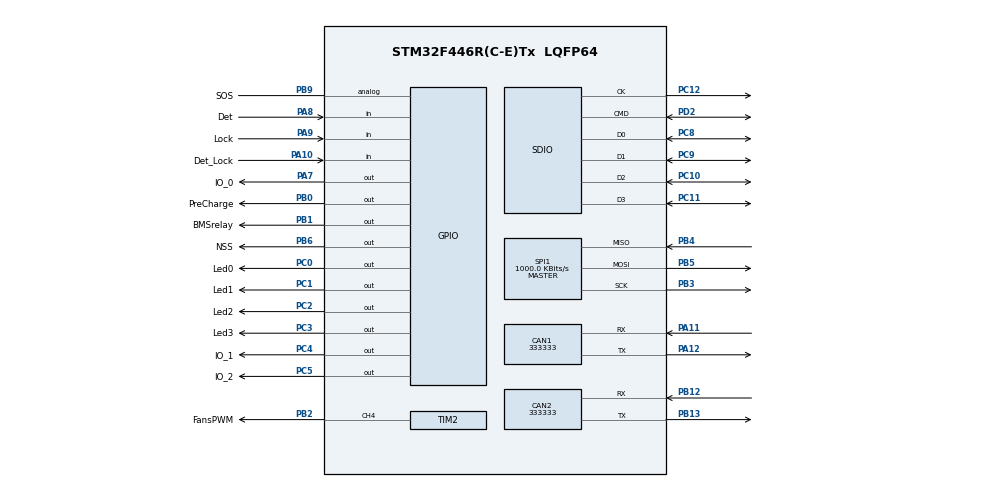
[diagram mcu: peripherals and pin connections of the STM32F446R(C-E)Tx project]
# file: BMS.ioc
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CAN1.BS1=CAN_BS1_1TQ
CAN1.BS2=CAN_BS2_1TQ
CAN1.CalculateBaudRate=333333
CAN1.CalculateTimeBit=3000.00
CAN1.CalculateTimeQuantum=1000.0
CAN2.BS1=CAN_BS1_1TQ
CAN2.BS2=CAN_BS2_1TQ
CAN2.CalculateBaudRate=333333
CAN2.CalculateTimeBit=3000.00
CAN2.CalculateTimeQuantum=1000.0
FATFS.BSP.number=1
FATFS0.BSP.STBoard=false
FATFS0.BSP.api=Unknown
FATFS0.BSP.i2caddr=0
FATFS0.BSP.instance=PA8
FATFS0.BSP.ip=GPIO
FATFS0.BSP.mode=Input
FATFS0.BSP.name=Detect_SDIO
FATFS0.BSP.solution=PA8
Mcu.Family=STM32F4
Mcu.Name=STM32F446R(C-E)Tx
Mcu.Package=LQFP64
NVIC.CAN1_RX0_IRQn=true\:0\:0\:false\:false\:true\:true\:true
NVIC.CAN2_RX1_IRQn=true\:0\:0\:false\:false\:true\:true\:true
NVIC.PriorityGroup=NVIC_PRIORITYGROUP_4
PA10.GPIO_Label=Det_Lock
PA10.Signal=GPIO_Input
PA11.Mode=CAN_Activate
PA11.Signal=CAN1_RX
PA12.Mode=CAN_Activate
PA12.Signal=CAN1_TX
PA13.GPIO_Label=SWDIO
PA13.Mode=Serial_Wire
PA13.Signal=SYS_JTMS-SWDIO
PA14.GPIO_Label=SWCLK
PA14.Mode=Serial_Wire
PA14.Signal=SYS_JTCK-SWCLK
PA7.GPIO_Label=IO_0
PA7.Signal=GPIO_Output
PA8.GPIO_Label=Det
PA8.Signal=GPIO_Input
PA9.GPIO_Label=Lock
PA9.Signal=GPIO_Input
PB0.GPIO_Label=PreCharge
PB0.Signal=GPIO_Output
PB1.GPIO_Label=BMSrelay
PB1.Signal=GPIO_Output
PB12.Mode=CAN_Activate
PB12.Signal=CAN2_RX
PB13.Mode=CAN_Activate
PB13.Signal=CAN2_TX
PB2.GPIO_Label=FansPWM
PB2.Signal=S_TIM2_CH4
PB3.Mode=Full_Duplex_Master
PB3.Signal=SPI1_SCK
PB4.Mode=Full_Duplex_Master
PB4.Signal=SPI1_MISO
PB5.Mode=Full_Duplex_Master
PB5.Signal=SPI1_MOSI
PB6.GPIO_Label=NSS
PB6.Signal=GPIO_Output
PB9.GPIO_Label=SOS
PB9.Signal=GPIO_Analog
PC0.GPIO_Label=Led0
PC0.Signal=GPIO_Output
PC1.GPIO_Label=Led1
PC1.Signal=GPIO_Output
PC10.Mode=SD_4_bits_Wide_bus
PC10.Signal=SDIO_D2
PC11.Mode=SD_4_bits_Wide_bus
PC11.Signal=SDIO_D3
PC12.Mode=SD_4_bits_Wide_bus
PC12.Signal=SDIO_CK
PC14-OSC32_IN.Mode=LSE-External-Clock-Source
PC14-OSC32_IN.Signal=RCC_OSC32_IN
PC15-OSC32_OUT.Mode=LSE-External-Clock-Source
PC15-OSC32_OUT.Signal=RCC_OSC32_OUT
PC2.GPIO_Label=Led2
PC2.Signal=GPIO_Output
PC3.GPIO_Label=Led3
PC3.Signal=GPIO_Output
PC4.GPIO_Label=IO_1
PC4.Signal=GPIO_Output
PC5.GPIO_Label=IO_2
PC5.Signal=GPIO_Output
PC8.Mode=SD_4_bits_Wide_bus
PC8.Signal=SDIO_D0
PC9.Mode=SD_4_bits_Wide_bus
PC9.Signal=SDIO_D1
PD2.Mode=SD_4_bits_Wide_bus
PD2.Signal=SDIO_CMD
PH0-OSC_IN.Mode=HSE-External-Clock-Source
PH0-OSC_IN.Signal=RCC_OSC_IN
PH1-OSC_OUT.Mode=HSE-External-Clock-Source
PH1-OSC_OUT.Signal=RCC_OSC_OUT
ProjectManager.HeapSize=0x200
ProjectManager.StackSize=0x400
ProjectManager.TargetToolchain=STM32CubeIDE
RCC.AHBFreq_Value=16000000
RCC.APB1Freq_Value=16000000
RCC.APB1TimFreq_Value=16000000
RCC.APB2Freq_Value=16000000
RCC.APB2TimFreq_Value=16000000
RCC.CortexFreq_Value=16000000
RCC.HCLKFreq_Value=16000000
RCC.HSE_VALUE=25000000
RCC.PLLM=8
RCC.PLLN=50
RCC.PLLQ=3
RCC.SYSCLKFreq_VALUE=16000000
RCC.USBFreq_Value=33333333.333333332
RCC.VCOOutputFreq_Value=100000000
SH.S_TIM2_CH4.0=TIM2_CH4,PWM Generation4 CH4
SPI1.BaudRatePrescaler=SPI_BAUDRATEPRESCALER_16
SPI1.CLKPhase=SPI_PHASE_2EDGE
SPI1.CalculateBaudRate=1000.0 KBits/s
SPI1.Direction=SPI_DIRECTION_2LINES
SPI1.FirstBit=SPI_FIRSTBIT_MSB
SPI1.Mode=SPI_MODE_MASTER
SPI1.VirtualType=VM_MASTER
TIM2.Channel-PWM\ Generation4\ CH4=TIM_CHANNEL_4
TIM2.Period=19999
TIM2.Prescaler=800
VP_FATFS_VS_SDIO.Mode=SDIO
VP_TIM2_VS_ClockSourceINT.Mode=Internal
board=custom

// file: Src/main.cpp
#include <main.h>
#include <cmath>
#include "fatfs.h"
#include "IVT.h"
#include "NLG5.h"
#include "LTC6811.h"
#include "PWM_Fan.h"
#include "Status.h"
#include "DWTWrapper.h"

struct RTClock {
    volatile uint16_t year{ 0 };
    volatile uint8_t month{ 0 };
    volatile uint8_t days{ 0 };
    volatile uint8_t hours{ 0 };
    volatile uint8_t minutes{ 0 };
    volatile uint8_t seconds{ 0 };

    void tick() noexcept {
        if (++seconds >= 60) {
            seconds = 0;
            if (++minutes >= 60) {
                minutes = 0;
                if (++hours >= 24) {
                    hours = 0;
                }
            }
        }
    }
} rtc;

struct VoltageStatus {
    uint32_t sum{ 0 };
    uint16_t min{ std::numeric_limits<uint16_t>::max() };
    size_t min_id{ 0 };
    uint16_t max{ std::numeric_limits<uint16_t>::min() };
    size_t max_id{ 0 };
};

struct TempStatus {
    int16_t min{ std::numeric_limits<int16_t>::max() };
    size_t min_id{ 0 };
    int16_t max{ std::numeric_limits<int16_t>::min() };
    size_t max_id{ 0 };
};

static constexpr auto kFile = "/hpf20/data.txt";

CAN_HandleTypeDef hcan1; // CAN1
CAN_HandleTypeDef hcan2; // CAN0. Confusing, I know! Blame the electrical boys.
SD_HandleTypeDef hsd;
SPI_HandleTypeDef hspi1;
TIM_HandleTypeDef htim2;
CAN_TxHeaderTypeDef TxHeader{ 0, 0, CAN_ID_STD, CAN_RTR_DATA, 8, DISABLE };
NLG5* nlg5{ nullptr };
LTC6811* ltc6811;
PWM_Fan* pwm_fan{ nullptr };
IVT ivt;
uint32_t mailbox{ 0 };
Status status{ Core | Charging };
DischargeMode volatile discharge_mode{ GTMinPlusDelta };

static void SystemClock_Config();
static void MX_GPIO_Init();
static void MX_CAN1_Init();
static void MX_CAN2_Init();
static void MX_SDIO_SD_Init();
static void MX_SPI1_Init();
static void MX_TIM2_Init();
void balance_cells(LTC6811::CellData const &, VoltageStatus const &, DischargeMode) noexcept;
[[nodiscard]] std::optional<VoltageStatus> read_cell_data(LTC6811::CellData&) noexcept;
[[nodiscard]] std::optional<TempStatus> read_temp_data(LTC6811::TempData&) noexcept;
HAL_StatusTypeDef CANTxData(uint16_t const, uint16_t const, int16_t const);
HAL_StatusTypeDef CANTxVoltageLimpTotal(uint32_t const);
HAL_StatusTypeDef CANTxDCCfg();
HAL_StatusTypeDef CANTxVoltage(LTC6811::CellData const &);
HAL_StatusTypeDef CANTxTemperature(LTC6811::TempData const &);
HAL_StatusTypeDef CANTxStatus();
HAL_StatusTypeDef CANTxPECError();
HAL_StatusTypeDef CANTxVolumeSize(uint32_t const);
inline auto get_uptime() { return uwTick / 10; }

extern "C" { void HAL_IncTick() {
    uwTick += uwTickFreq;
    if (nlg5 != nullptr && status.get_op_mode() & Charging)
        nlg5->tick();
}}

int main() {
    HAL_Init();
    SystemClock_Config();
    MX_GPIO_Init();
    HAL_GPIO_WritePin(NSS_GPIO_Port, NSS_Pin, GPIO_PIN_SET);
    //MX_FATFS_Init();
    MX_CAN1_Init();
    MX_CAN2_Init();
    //MX_SDIO_SD_Init();
    MX_SPI1_Init();
    MX_TIM2_Init();
    HAL_TIM_PWM_Start(&htim2, TIM_CHANNEL_4);
    HAL_CAN_ActivateNotification(&hcan1, CAN_IT_TX_MAILBOX_EMPTY | CAN_IT_RX_FIFO0_MSG_PENDING | CAN_IT_RX_FIFO1_MSG_PENDING);
    nlg5 = new NLG5(hcan1, TxHeader);
    pwm_fan = new PWM_Fan;

#if BYPASS_INITIAL_CHECK
    status.set_AIR_state(GPIO_PIN_SET);
    //HAL_Delay(5000);
    status.set_precharge_state(GPIO_PIN_SET);
#endif

    ltc6811 = new LTC6811{
        [](bool level) {
            HAL_GPIO_WritePin(NSS_GPIO_Port, NSS_Pin, static_cast<GPIO_PinState>(level));
        },
        [](uint8_t const * tx_buffer, std::size_t size) {
            HAL_SPI_Transmit(&hspi1, tx_buffer, size, HAL_MAX_DELAY);
        },
        [](uint8_t* rx_buffer, std::size_t size) {
            HAL_SPI_Receive(&hspi1, rx_buffer, size, HAL_MAX_DELAY);
        }
    };

    LTC6811::RegisterGroup<uint8_t> default_config{ 0 };
    for (auto& IC : default_config)
        IC.data[0] = LTC6811::CFGR0;
    ltc6811->WRCFG(LTC6811::A, default_config);
    ltc6811->RDCFG(LTC6811::A, default_config);

    LTC6811::CellData cell_data{ 0 };
    LTC6811::TempData temp_data{ 0 };

    while (true) {
        HAL_GPIO_TogglePin(Led0_GPIO_Port, Led0_Pin);
        auto const op_mode = status.get_op_mode();

        /*  Core routine for monitoring voltage and temperature of the cells.  */
        if (op_mode & Core) {
            auto const voltage_status = read_cell_data(cell_data);
            auto const temp_status = read_temp_data(temp_data);
            // The boolean logic here is confusing, I know, but it's correct. The error handling needs a full rewrite.
            if (!status.is_error(PECError, !voltage_status.has_value()) &&
                    !status.is_error(PECError, !temp_status.has_value())) { // If no PEC errors and we have both statuses
                status.is_error(Limping, voltage_status->min < kLimpMinVoltage);
                nlg5->setChargeCurrent(voltage_status->max);

                if (op_mode & Balance)
                    balance_cells(cell_data, *voltage_status, discharge_mode);

                if (pwm_fan->getMode() == PWM_Fan::Automatic)
                    pwm_fan->calcDutyCycle(temp_status->max);

#if CHECK_IVT
                switch (ivt.compare_precharge(voltage_status->sum)) {
                case ivt.Charged:
                status.set_precharge_state(GPIO_PIN_SET);
                break;

                case ivt.NotCharged:
                status.set_precharge_state(GPIO_PIN_RESET);
                break;

                case ivt.Hysteresis:
                case ivt.Lost:
                default:
                    // Do nothing.
                    break;
                }
#endif

                if ( // NOTE: Bitwise & will not short circuit like Logical &&. We want all status.is_error() calls to happen, so do not replace & with &&.
#if CHECK_IVT
#if IVT_TIMEOUT
                        !status.is_error(IVTLost, ivt.is_lost()) &
#endif
#if TEST_OVERPOWER
                        !status.is_error(OverPower, voltage_status->sum * ivt.get_current() > kMaxPower) &
#endif
#if TEST_OVERCURRENT
                        !status.is_error(OverCurrent, ivt.get_current() > kMaxCurrent) &
#endif
#if TEST_ACCU_UNDERVOLTAGE
                        !status.is_error(AccuUnderVoltage, ivt.get_voltage2() < kAccuMinVoltage) &
#endif
#endif
#if TEST_UNDERVOLTAGE
                        !status.is_error(UnderVoltage, voltage_status->min < kMinVoltage) &
#endif
#if TEST_OVERVOLTAGE
                        !status.is_error(OverVoltage, voltage_status->max > kMaxVoltage) &
#endif
#if TEST_UNDERTEMPERATURE
                        !status.is_error(UnderTemp, temp_status->min < kMinTemp) &
#endif
#if TEST_OVERTEMPERATURE
                        !status.is_error(OverTemp, temp_status->max > kMaxTemp) &
#endif
#if TEST_OVERTEMPERATURE_CHARGING
                        !status.is_error(OverTempCharging, (op_mode & Charging) && (temp_status->max > kMaxChargeTemp)) &
#endif
                        true
                ) {
                    // If no errors occurred, including PEC errors, since that's the condition of entering this scope.
                    status.set_AIR_state(GPIO_PIN_SET);
#if !CHECK_IVT
                    status.set_precharge_state(GPIO_PIN_SET);
#endif
                }
#if CAN_ENABLED
                CANTxData(voltage_status->min, voltage_status->max, temp_status->max);
                CANTxVoltageLimpTotal(voltage_status->sum);
#endif
            }
#if CAN_ENABLED
            CANTxStatus();
            CANTxPECError();
        }

#if CAN_DEBUG
        /*  Functions for debugging and untested code.  */
        if (op_mode & Debug) {
            CANTxVoltage(cell_data);
            CANTxTemperature(temp_data);
            CANTxDCCfg();
        }
#endif
#endif
        /*  Log data to SD card.  */
        if (op_mode & Logging) {
            if (retSD == FR_OK) {
                if (f_size(&SDFile) < 524288000 && f_open(&SDFile, kFile, FA_WRITE | FA_OPEN_APPEND) == FR_OK) {
                    HAL_GPIO_TogglePin(Led2_GPIO_Port, Led2_Pin);

                    /* NOTE: f_printf might be pretty slow compared to f_write. */
                    f_printf(&SDFile, "%u,", get_uptime());
                    /* ISO 8601 Notation (yyyy-mm-ddThh:mm:ss) */
                    // TODO Not implemented.
                    f_printf(&SDFile, "%04u-%02u-%02uT%02u:%02u:%02u\n", rtc.year, rtc.month, rtc.days, rtc.hours, rtc.minutes, rtc.seconds);

                    UINT number_written{ 0 };
                    uint16_t buffer[4 * LTC6811::kDaisyChainLength * 3]{ 0 };
                    size_t position{ 0 };

                    for (auto const& register_group : cell_data) // 4 voltage register groups
                        for (auto const& IC : register_group) // N ICs in daisy chain, determined by kDaisyChainLength
                            for (auto const voltage : IC.data) // 3 voltages in IC.data
                                buffer[position++] = voltage;
                    f_write(&SDFile, buffer, sizeof(buffer), &number_written);

                    position = 0;

                    for (auto const& register_group : temp_data) // 2 temperature register groups
                        for (auto const& IC : register_group) // N ICs in daisy chain, determined by kDaisyChainLength
                            for (auto const temperature : IC.data) // 3 temperatures in IC.data
                                buffer[position++] = temperature;
                    f_write(&SDFile, buffer, sizeof(buffer) / 2, &number_written);

                    f_sync(&SDFile);
                    f_close(&SDFile);
                }
            }
        }
    }
}

static void SystemClock_Config() {
    RCC_OscInitTypeDef RCC_OscInitStruct = {0};
    RCC_ClkInitTypeDef RCC_ClkInitStruct = {0};
    RCC_PeriphCLKInitTypeDef PeriphClkInitStruct = {0};

    // Configure the main internal regulator output voltage
    __HAL_RCC_PWR_CLK_ENABLE();
    __HAL_PWR_VOLTAGESCALING_CONFIG(PWR_REGULATOR_VOLTAGE_SCALE3);

    // Initializes the CPU, AHB and APB busses clocks
    RCC_OscInitStruct.OscillatorType = RCC_OSCILLATORTYPE_HSI;
    RCC_OscInitStruct.HSIState = RCC_HSI_ON;
    RCC_OscInitStruct.HSICalibrationValue = RCC_HSICALIBRATION_DEFAULT;
    RCC_OscInitStruct.PLL.PLLState = RCC_PLL_ON;
    RCC_OscInitStruct.PLL.PLLSource = RCC_PLLSOURCE_HSI;
    RCC_OscInitStruct.PLL.PLLM = 8;
    RCC_OscInitStruct.PLL.PLLN = 50;
    RCC_OscInitStruct.PLL.PLLP = RCC_PLLP_DIV2;
    RCC_OscInitStruct.PLL.PLLQ = 3;
    RCC_OscInitStruct.PLL.PLLR = 2;
    if (HAL_RCC_OscConfig(&RCC_OscInitStruct) != HAL_OK)
        Error_Handler();

    // Initializes the CPU, AHB and APB busses clocks
    RCC_ClkInitStruct.ClockType = RCC_CLOCKTYPE_HCLK|RCC_CLOCKTYPE_SYSCLK|RCC_CLOCKTYPE_PCLK1|RCC_CLOCKTYPE_PCLK2;
    RCC_ClkInitStruct.SYSCLKSource = RCC_SYSCLKSOURCE_HSI;
    RCC_ClkInitStruct.AHBCLKDivider = RCC_SYSCLK_DIV1;
    RCC_ClkInitStruct.APB1CLKDivider = RCC_HCLK_DIV1;
    RCC_ClkInitStruct.APB2CLKDivider = RCC_HCLK_DIV1;
    if (HAL_RCC_ClockConfig(&RCC_ClkInitStruct, FLASH_LATENCY_0) != HAL_OK)
        Error_Handler();

    PeriphClkInitStruct.PeriphClockSelection = RCC_PERIPHCLK_SDIO|RCC_PERIPHCLK_CLK48;
    PeriphClkInitStruct.Clk48ClockSelection = RCC_CLK48CLKSOURCE_PLLQ;
    PeriphClkInitStruct.SdioClockSelection = RCC_SDIOCLKSOURCE_CLK48;
    if (HAL_RCCEx_PeriphCLKConfig(&PeriphClkInitStruct) != HAL_OK)
        Error_Handler();
}

static void MX_CAN1_Init() {
    hcan1.Instance = CAN1;
    hcan1.Init.Prescaler = 16;
    hcan1.Init.Mode = CAN_MODE_NORMAL;
    hcan1.Init.SyncJumpWidth = CAN_SJW_1TQ;
    hcan1.Init.TimeSeg1 = CAN_BS1_1TQ;
    hcan1.Init.TimeSeg2 = CAN_BS2_1TQ;
    hcan1.Init.TimeTriggeredMode = DISABLE;
    hcan1.Init.AutoBusOff = DISABLE;
    hcan1.Init.AutoWakeUp = DISABLE;
    hcan1.Init.AutoRetransmission = DISABLE;
    hcan1.Init.ReceiveFifoLocked = DISABLE;
    hcan1.Init.TransmitFifoPriority = DISABLE;
    if (HAL_CAN_Init(&hcan1) != HAL_OK)
        Error_Handler();
    /* USER CODE BEGIN CAN1_Init 2 */
    CAN_FilterTypeDef sFilterConfig = {
            .FilterIdHigh = Setting << 5,
            .FilterIdLow = NLGAStat << 5,
            .FilterMaskIdHigh = NLGBStat << 5,
            .FilterMaskIdLow = LoggerReq << 5,
            .FilterFIFOAssignment = CAN_RX_FIFO1,
            .FilterBank = 0,
            .FilterMode = CAN_FILTERMODE_IDLIST,
            .FilterScale = CAN_FILTERSCALE_16BIT,
            .FilterActivation = ENABLE,
            .SlaveStartFilterBank = 14
    };
    HAL_CAN_ConfigFilter(&hcan1, &sFilterConfig);
}

static void MX_CAN2_Init() {
    hcan2.Instance = CAN2;
    hcan2.Init.Prescaler = 16;
    hcan2.Init.Mode = CAN_MODE_NORMAL;
    hcan2.Init.SyncJumpWidth = CAN_SJW_1TQ;
    hcan2.Init.TimeSeg1 = CAN_BS1_1TQ;
    hcan2.Init.TimeSeg2 = CAN_BS2_1TQ;
    hcan2.Init.TimeTriggeredMode = DISABLE;
    hcan2.Init.AutoBusOff = DISABLE;
    hcan2.Init.AutoWakeUp = DISABLE;
    hcan2.Init.AutoRetransmission = DISABLE;
    hcan2.Init.ReceiveFifoLocked = DISABLE;
    hcan2.Init.TransmitFifoPriority = DISABLE;
    if (HAL_CAN_Init(&hcan2) != HAL_OK)
        Error_Handler();
    CAN_FilterTypeDef sFilterConfig = {
            .FilterIdHigh = IVT_I << 5,
            .FilterIdLow = IVT_U1 << 5,
            .FilterMaskIdHigh = IVT_U2 << 5,
            .FilterMaskIdLow = IVT_U3 << 5,
            .FilterFIFOAssignment = CAN_RX_FIFO0,
            .FilterBank = 14,
            .FilterMode = CAN_FILTERMODE_IDLIST,
            .FilterScale = CAN_FILTERSCALE_16BIT,
            .FilterActivation = ENABLE,
            .SlaveStartFilterBank = 14,
    };
    HAL_CAN_ConfigFilter(&hcan2, &sFilterConfig);
}

static void MX_SDIO_SD_Init() {
    hsd.Instance = SDIO;
    hsd.Init.ClockEdge = SDIO_CLOCK_EDGE_RISING;
    hsd.Init.ClockBypass = SDIO_CLOCK_BYPASS_DISABLE;
    hsd.Init.ClockPowerSave = SDIO_CLOCK_POWER_SAVE_DISABLE;
    hsd.Init.BusWide = SDIO_BUS_WIDE_1B;
    hsd.Init.HardwareFlowControl = SDIO_HARDWARE_FLOW_CONTROL_DISABLE;
    hsd.Init.ClockDiv = 0;
}

static void MX_SPI1_Init() {
    hspi1.Instance = SPI1;
    hspi1.Init.Mode = SPI_MODE_MASTER;
    hspi1.Init.Direction = SPI_DIRECTION_2LINES;
    hspi1.Init.DataSize = SPI_DATASIZE_8BIT;
    hspi1.Init.CLKPolarity = SPI_POLARITY_LOW;
    hspi1.Init.CLKPhase = SPI_PHASE_1EDGE;
    hspi1.Init.NSS = SPI_NSS_SOFT;
    hspi1.Init.BaudRatePrescaler = SPI_BAUDRATEPRESCALER_64;
    hspi1.Init.FirstBit = SPI_FIRSTBIT_MSB;
    hspi1.Init.TIMode = SPI_TIMODE_DISABLE;
    hspi1.Init.CRCCalculation = SPI_CRCCALCULATION_DISABLE;
    hspi1.Init.CRCPolynomial = 1;
    if (HAL_SPI_Init(&hspi1) != HAL_OK)
        Error_Handler();
}

static void MX_TIM2_Init() {
    htim2.Instance = TIM2;
    htim2.Init.Prescaler = 800; // Prescaler is 800 as 16MHz / 800 == 20kHz, I guess?
    htim2.Init.CounterMode = TIM_COUNTERMODE_UP;
    htim2.Init.Period = 19999;
    htim2.Init.ClockDivision = TIM_CLOCKDIVISION_DIV1;
    htim2.Init.AutoReloadPreload = TIM_AUTORELOAD_PRELOAD_DISABLE;
    if (HAL_TIM_Base_Init(&htim2) != HAL_OK)
        Error_Handler();

    TIM_ClockConfigTypeDef sClockSourceConfig = {0};
    sClockSourceConfig.ClockSource = TIM_CLOCKSOURCE_INTERNAL;
    if (HAL_TIM_ConfigClockSource(&htim2, &sClockSourceConfig) != HAL_OK)
        Error_Handler();
    if (HAL_TIM_PWM_Init(&htim2) != HAL_OK)
        Error_Handler();

    TIM_MasterConfigTypeDef sMasterConfig = {0};
    sMasterConfig.MasterOutputTrigger = TIM_TRGO_RESET;
    sMasterConfig.MasterSlaveMode = TIM_MASTERSLAVEMODE_DISABLE;
    if (HAL_TIMEx_MasterConfigSynchronization(&htim2, &sMasterConfig) != HAL_OK)
        Error_Handler();

    TIM_OC_InitTypeDef sConfigOC = {0};
    sConfigOC.OCMode = TIM_OCMODE_PWM1;
    sConfigOC.Pulse = 0;
    sConfigOC.OCPolarity = TIM_OCPOLARITY_HIGH;
    sConfigOC.OCFastMode = TIM_OCFAST_DISABLE;
    if (HAL_TIM_PWM_ConfigChannel(&htim2, &sConfigOC, TIM_CHANNEL_4) != HAL_OK)
        Error_Handler();
    HAL_TIM_MspPostInit(&htim2);
}

static void MX_GPIO_Init() {
    GPIO_InitTypeDef GPIO_InitStruct = {0};

    /* GPIO Ports Clock Enable */
    __HAL_RCC_GPIOC_CLK_ENABLE();
    __HAL_RCC_GPIOH_CLK_ENABLE();
    __HAL_RCC_GPIOA_CLK_ENABLE();
    __HAL_RCC_GPIOB_CLK_ENABLE();

    /*Configure GPIO pin Output Levels */
    HAL_GPIO_WritePin(GPIOC, Led0_Pin|Led1_Pin|Led2_Pin|Led3_Pin|IO_1_Pin|IO_2_Pin, GPIO_PIN_RESET);
    HAL_GPIO_WritePin(IO_0_GPIO_Port, IO_0_Pin, GPIO_PIN_RESET);
    HAL_GPIO_WritePin(GPIOB, PreCharge_Pin|BMSrelay_Pin, GPIO_PIN_RESET);
    HAL_GPIO_WritePin(NSS_GPIO_Port, NSS_Pin, GPIO_PIN_SET);

    GPIO_InitStruct.Pin = Led0_Pin | Led1_Pin | Led2_Pin | Led3_Pin | IO_1_Pin | IO_2_Pin;
    GPIO_InitStruct.Mode = GPIO_MODE_OUTPUT_PP;
    GPIO_InitStruct.Pull = GPIO_NOPULL;
    GPIO_InitStruct.Speed = GPIO_SPEED_FREQ_LOW;
    HAL_GPIO_Init(GPIOC, &GPIO_InitStruct);

    GPIO_InitStruct.Pin = IO_0_Pin;
    HAL_GPIO_Init(IO_0_GPIO_Port, &GPIO_InitStruct);

    GPIO_InitStruct.Pin = PreCharge_Pin | BMSrelay_Pin | NSS_Pin;
    HAL_GPIO_Init(GPIOB, &GPIO_InitStruct);

    GPIO_InitStruct.Pin = Det_Pin |Lock_Pin | Det_Lock_Pin;
    GPIO_InitStruct.Mode = GPIO_MODE_INPUT;
    HAL_GPIO_Init(GPIOA, &GPIO_InitStruct);

    GPIO_InitStruct.Pin = SOS_Pin;
    GPIO_InitStruct.Mode = GPIO_MODE_ANALOG;
    HAL_GPIO_Init(SOS_GPIO_Port, &GPIO_InitStruct);
}

void balance_cells(LTC6811::CellData const & cell_data, VoltageStatus const & voltage_status, DischargeMode discharge_mode) noexcept {
    static constexpr uint8_t kDelta{ 100 };
    uint16_t DCC{ 0 };
    uint8_t current_cell{ 0 }, current_ic{ LTC6811::kDaisyChainLength - 1 };
    LTC6811::RegisterGroup<uint8_t> config_register_group{ 0 };

    switch (discharge_mode) {
    case GTMinPlusDelta:
        for (auto& IC : config_register_group) { // 12 register groups
            DCC = 0;
            current_cell = 0;
            for (auto const& register_group : cell_data) { // 4 voltage register groups
                for (auto const voltage : register_group[current_ic].data) { // 3 voltages per IC
                    if (voltage > voltage_status.min + kDelta)
                        DCC |= 1 << current_cell;
                    ++current_cell;
                } // 4 * 3 = 12 voltages associated with each LTC6811 in the daisy chain
            }
            --current_ic;
            IC.data[4] = DCC >> 0 & 0xFF;
            IC.data[5] = DCC >> 8 & 0x0F;
        } // 12 * 12 = 144 voltages associated with the entire daisy chain
        break;

    case MaxOnly:
        if (voltage_status.max - voltage_status.min > kDelta) {
            current_ic = voltage_status.max_id / 3 % 12;
            DCC |= 1 << voltage_status.max_id % 11;
            config_register_group[current_ic].data[4] = DCC >> 0 & 0xFF;
            config_register_group[current_ic].data[5] = DCC >> 8 & 0x0F;
        }
        break;

    case GTMeanPlusDelta: {
        size_t const average_voltage{ voltage_status.sum / (4 * LTC6811::kDaisyChainLength * 3) };
        for (auto& IC : config_register_group) {
            DCC = 0;
            current_cell = 0;
            for (auto const& register_group : cell_data) { // 4 voltage register groups
                for (auto const voltage : register_group[current_ic].data) { // 3 voltages per IC
                    if (voltage > average_voltage + kDelta)
                        DCC |= 1 << current_cell;
                    ++current_cell;
                } // 4 * 3 = 12 voltages associated with each LTC6811 in the daisy chain
            }
            --current_ic;
            IC.data[4] = DCC >> 0 & 0xFF;
            IC.data[5] = DCC >> 8 & 0x0F;
        }
        break;
    }
    }

    ltc6811->WRCFG(LTC6811::A, config_register_group);
}

/* Read cell data and generate a status report of the cell voltage register groups.
 * Returns a VoltageStatus on success, nullopt if error. */
[[nodiscard]] std::optional<VoltageStatus> read_cell_data(LTC6811::CellData& cell_data) noexcept {
    VoltageStatus status;
    size_t count{ 0 };

    //WRCFG[0](config_register_group);
    //DWTWrapper::delay_us(500);
    //RDCFG[0](rd_cfgr_dump);
    LTC6811::RegisterGroup<uint8_t> config_register_group;
    ltc6811->ADCV();

    for (size_t i = 0; i < cell_data.size(); ++i)
        if (ltc6811->RDCV(static_cast<LTC6811::Group>(i), cell_data[i]) == true)
            return std::nullopt;

    for (const auto& register_group : cell_data) {
        for (const auto& IC : register_group) {
            for (const auto voltage : IC.data) {
                status.sum += voltage;
                if (voltage < status.min) {
                    status.min = voltage;
                    status.min_id = count;
                } else if (voltage > status.max) {
                    status.max = voltage;
                    status.max_id = count;
                }
                ++count;
            }
        }
    }
    status.sum /= 10000; // Convert centiDegC to DegC (with rounding errors, but this is what the old code did...)
    return status;
}

/* Read temp data and generate a status report of the current temperatures from aux voltage register groups.
 * Returns a TempStatus on success, nullopt if error. */
[[nodiscard]] std::optional<TempStatus> read_temp_data(LTC6811::TempData& temp_data) noexcept {
    static constexpr auto steinharthart = [](int16_t const NTC_voltage) noexcept {
        constexpr auto Vin = 30000.0f; // 3[V], or 30000[V * 10-5]
        constexpr auto KtoC = 27315; // centiKelvin to centiDegCelsius
        constexpr auto A = 0.003354016f;
        constexpr auto B = 0.000256524f;
        constexpr auto C = 0.00000260597f;
        constexpr auto D = 0.0000000632926f;
        auto log = -logf(Vin / NTC_voltage - 1);
        return static_cast<int16_t>(100.0f / (A + log * ( B + log * (C + D * log))) - KtoC);
    };

    TempStatus status;
    size_t count{ 0 };

    ltc6811->ADAX();

    for (size_t i = 0; i < temp_data.size(); ++i)
        if (ltc6811->RDAUX(static_cast<LTC6811::Group>(i), temp_data[i]) == true)
            return std::nullopt;

    for (auto& register_group : temp_data) {
        for (auto& IC : register_group) {
            for (auto& temperature : IC.data) {
                temperature = steinharthart(temperature);
                if (temperature < status.min) {
                    status.min = temperature;
                    status.min_id = count;
                } else if (temperature > status.max) {
                    status.max = temperature;
                    status.max_id = count;
                }
                ++count;
            }
        }
    }
    return status;
}

/* USER CODE BEGIN 4 */
// CAN0 / CAN2
void HAL_CAN_RxFifo0MsgPendingCallback(CAN_HandleTypeDef *hcan) {
    CAN_RxHeaderTypeDef RxHeader;
    uint8_t data[8]{ 0 };

    if (HAL_CAN_GetRxMessage(hcan, CAN_RX_FIFO0, &RxHeader, data) == HAL_OK) {
        switch(RxHeader.StdId) {
        case IVT_I:
            ivt.set_current(static_cast<int32_t>(data[2] << 24 | data[3] << 16 | data[4] << 8 | data[5]) / 1000.0f);
            break;

        case IVT_U1:
            ivt.set_voltage1(static_cast<int32_t>(data[2] << 24 | data[3] << 16 | data[4] << 8 | data[5]) / 1000.0f);
            break;

        case IVT_U2:
            ivt.set_voltage2(static_cast<int32_t>(data[2] << 24 | data[3] << 16 | data[4] << 8 | data[5]) / 1000.0f);
            break;

        default:
            break;
        }
    }
}

// CAN1
void HAL_CAN_RxFifo1MsgPendingCallback(CAN_HandleTypeDef *hcan) {
    CAN_RxHeaderTypeDef RxHeader;
    uint8_t data[8]{ 0 };

    if (HAL_CAN_GetRxMessage(hcan, CAN_RX_FIFO1, &RxHeader, data) == HAL_OK) {
        switch(RxHeader.StdId) {
        case DateTime:
            rtc.year = data[0] + 2000;
            rtc.month = data[1];
            rtc.days = data[2];
            rtc.hours = data[3];
            rtc.minutes = data[4];
            rtc.seconds = data[5];
            break;

        case NLGAStat: // possible the order of this array is backwards
            nlg5->a_buffer[0] = data[0];
            nlg5->a_buffer[1] = data[1];
            nlg5->a_buffer[2] = data[2];
            nlg5->a_buffer[3] = data[3];
            break;

        case NLGBStat:
            nlg5->b_buffer[0] = data[0];
            nlg5->b_buffer[1] = data[1];
            nlg5->b_buffer[2] = data[2];
            nlg5->b_buffer[3] = data[3];
            break;

        case LoggerReq: {
            // NOTE: It's possible the switch should happen on data[0] if I got the endianness wrong.
            switch (data[3]) {
            case 0:
                /* Call appropriate logger function */
                break;

            case 1:
                if (retSD == FR_OK)
                    CANTxVolumeSize(f_size(&SDFile));
                else
                    CANTxVolumeSize(0);
                break;

            case 2:
                if (retSD == FR_OK)
                    f_unlink(kFile);
                break;

            case 3:
                // TODO Not implemented. Don't know how to implement yet. Also Case 0-3 should have names.
                // rtc_set_date_time(data);
                break;

            default:
                break;
            }
            break;
        }

        case Setting:
            status.set_op_mode(static_cast<Op_Mode>(data[2]));
            discharge_mode = static_cast<DischargeMode>(data[3]);
            nlg5->oc_limit = data[6];
            pwm_fan->setMode(static_cast<PWM_Fan::Mode>(data[7] & 0x80));

            if (pwm_fan->getMode() == PWM_Fan::Manual)
                pwm_fan->setDutyCycle(data[7]);

            break;

        default:
            break;
        }
    }
}

HAL_StatusTypeDef CANTxStatus() {
    TxHeader.StdId = OpMode;
    TxHeader.DLC = 8;

    uint32_t const uptime = get_uptime();

    uint8_t data[] = {
            static_cast<uint8_t>(uptime >> 24),
            static_cast<uint8_t>(uptime >> 16),
            static_cast<uint8_t>(uptime >>  8),
            static_cast<uint8_t>(uptime >>  0),
            status.get_op_mode(),
            status.get_last_error(),
            status.get_precharge_state(),
            status.get_AIR_state()
    };

    return HAL_CAN_AddTxMessage(&hcan1, &TxHeader, data, &mailbox);
}

HAL_StatusTypeDef CANTxPECError() {
    TxHeader.StdId = PECError;
    TxHeader.DLC = 8;

    static uint32_t last_error{ 0 };

    uint32_t const total_error{ status.get_error_count(PECError) };
    uint32_t const error_change = total_error - last_error;
    uint8_t data[] = {
            static_cast<uint8_t>(total_error >> 24),
            static_cast<uint8_t>(total_error >> 16),
            static_cast<uint8_t>(total_error >>  8),
            static_cast<uint8_t>(total_error >>  0),
            static_cast<uint8_t>(error_change >> 24),
            static_cast<uint8_t>(error_change >> 16),
            static_cast<uint8_t>(error_change >>  8),
            static_cast<uint8_t>(error_change >>  0),
    };
    last_error = total_error;

    return HAL_CAN_AddTxMessage(&hcan1, &TxHeader, data, &mailbox);
}

HAL_StatusTypeDef CANTxData(uint16_t const v_min, uint16_t const v_max, int16_t const t_max) {
    TxHeader.StdId = Data;
    TxHeader.DLC = 8;

    uint16_t U1 = static_cast<uint16_t>(ivt.get_voltage1()); // TODO this is bad
    uint8_t data[] = {
            static_cast<uint8_t>(U1 >> 8),
            static_cast<uint8_t>(U1 >> 0),
            static_cast<uint8_t>(v_min >> 8),
            static_cast<uint8_t>(v_min >> 0),
            static_cast<uint8_t>(v_max >> 8),
            static_cast<uint8_t>(v_max >> 0),
            static_cast<uint8_t>(t_max >> 8),
            static_cast<uint8_t>(t_max >> 0)
    };
    return HAL_CAN_AddTxMessage(&hcan1, &TxHeader, data, &mailbox);
}

HAL_StatusTypeDef CANTxVoltage(LTC6811::CellData const & cell_data) {
    TxHeader.StdId = Volt;
    TxHeader.DLC = 8;

    uint8_t data[8]{ 0 };
    for (size_t current_ic = 0, byte_position = 0; current_ic < LTC6811::kDaisyChainLength; ++current_ic) {
        for (const auto& register_group : cell_data) { // 4 voltage register groups
            for (const auto value : register_group[current_ic].data) { // 3 voltages per IC
                data[byte_position++] = static_cast<uint8_t>(value >> 8);
                data[byte_position++] = static_cast<uint8_t>(value);

                if (byte_position == 8) {
                    if (HAL_CAN_AddTxMessage(&hcan1, &TxHeader, data, &mailbox) != HAL_OK)
                        return HAL_ERROR;
                    byte_position = 0;
                    ++TxHeader.StdId;
                }
            } // 4 * 3 == 12 voltages associated with each LTC6811 in the daisy chain
        }
    } // 4 * 3 * kDaisyChainLength == all voltages associated with the daisy chain
    return HAL_OK;
}

HAL_StatusTypeDef CANTxTemperature(LTC6811::TempData const & temp_data) {
    TxHeader.StdId = Temp;
    TxHeader.DLC = 8;

    uint8_t data[8]{ 0 };
    for (size_t current_ic = 0, byte_position = 0; current_ic < LTC6811::kDaisyChainLength; ++current_ic) {
        for (const auto& register_group : temp_data) { // 2 voltage register groups
            for (const auto temperature : register_group[current_ic].data) { // 3 temperatures per IC
                data[byte_position++] = static_cast<uint8_t>(temperature >> 8);
                data[byte_position++] = static_cast<uint8_t>(temperature);
                if (byte_position == 8) {
                    if (HAL_CAN_AddTxMessage(&hcan1, &TxHeader, data, &mailbox) != HAL_OK)
                        return HAL_ERROR;
                    byte_position = 0;
                    ++TxHeader.StdId;
                }
            } // 2 * 3 == 6 temperatures associated with each LTC6811 in the daisy chain
        }
    } // 2 * 3 * kDaisyChainLength == all temperatures associated with the daisy chain
    return HAL_OK;
}

HAL_StatusTypeDef CANTxVoltageLimpTotal(uint32_t const sum_of_cells) {
    TxHeader.StdId = VoltTotal;
    TxHeader.DLC = 8;
    uint8_t data[8] {
        static_cast<uint8_t>(sum_of_cells >> 24),
                static_cast<uint8_t>(sum_of_cells >> 16),
                static_cast<uint8_t>(sum_of_cells >>  8),
                static_cast<uint8_t>(sum_of_cells >>  0),
                status.get_error_over_limit(Limping),
                0x0,
                0x0,
                0x0
    };
    return HAL_CAN_AddTxMessage(&hcan1, &TxHeader, data, &mailbox);
}

/* Put discharge flag data on CAN bus. */
HAL_StatusTypeDef CANTxDCCfg() {
    TxHeader.StdId = DishB;
    TxHeader.DLC = 8;

    uint8_t data[8]{ 0 };
    uint8_t byte_position{ 0 };
    LTC6811::RegisterGroup<uint8_t> config_register_group;
    ltc6811->RDCFG(LTC6811::A, config_register_group);
    for (const auto& IC : config_register_group) {
        data[byte_position++] = IC.data[5];
        data[byte_position++] = IC.data[4];
        if (byte_position == 8) {
            if (HAL_CAN_AddTxMessage(&hcan1, &TxHeader, data, &mailbox) != HAL_OK)
                return HAL_ERROR;
            byte_position = 0;
            ++TxHeader.StdId;
        }
    }
    return HAL_OK;
}

HAL_StatusTypeDef CANTxVolumeSize(uint32_t const size_of_log) {
    TxHeader.StdId = LoggerResp;
    TxHeader.DLC = 4;

    uint8_t data[] = {
            static_cast<uint8_t>(size_of_log >> 24),
            static_cast<uint8_t>(size_of_log >> 16),
            static_cast<uint8_t>(size_of_log >>  8),
            static_cast<uint8_t>(size_of_log >>  0)
    };

    return HAL_CAN_AddTxMessage(&hcan1, &TxHeader, data, &mailbox);
}

void Error_Handler() {}
/* USER CODE END 4 */
/************************ (C) COPYRIGHT STMicroelectronics *****END OF FILE****/
